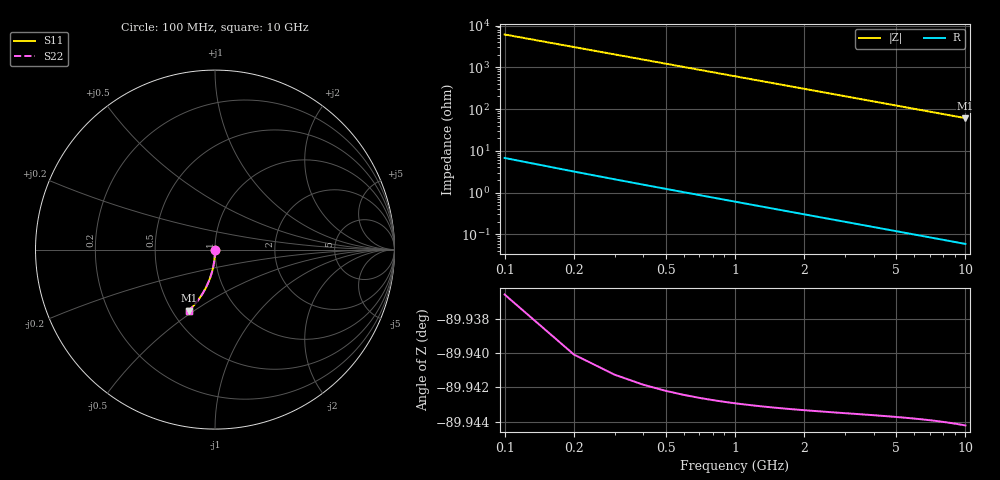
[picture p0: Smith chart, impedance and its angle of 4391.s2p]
# Hz S RI R 50.00
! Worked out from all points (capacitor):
!   100 points, 100 MHz to 10 GHz, reference 50 ohm
!   read as one part in shunt: C = 261 fF near 100 MHz
!   lowest |Z| = 60.7 ohm at 10 GHz (marker M1)
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1e8  1.54e-05 -0.00397  0.9999 -0.00423  0.9999 -0.00423  1.54e-05 -0.00397
2e8  -3.87e-05 -0.00793  0.9999 -0.00845  0.9999 -0.00845  -3.87e-05 -0.00793
3e8  -0.000126 -0.0119  0.9998 -0.0127  0.9998 -0.0127  -0.000126 -0.0119
4e8  -0.000248 -0.0159  0.9997 -0.0169  0.9997 -0.0169  -0.000248 -0.0159
5e8  -0.000402 -0.0198  0.9995 -0.0211  0.9995 -0.0211  -0.000402 -0.0198
6e8  -0.00059 -0.0238  0.9993 -0.0253  0.9993 -0.0253  -0.00059 -0.0238
7e8  -0.000812 -0.0277  0.9991 -0.0296  0.9991 -0.0296  -0.000812 -0.0277
8e8  -0.00107 -0.0317  0.9989 -0.0338  0.9989 -0.0338  -0.00107 -0.0317
9e8  -0.00136 -0.0357  0.9986 -0.038  0.9986 -0.038  -0.00136 -0.0357
1.1e9  -0.00203 -0.0436  0.9979 -0.0464  0.9979 -0.0464  -0.00203 -0.0436
1.4e9  -0.0033 -0.0554  0.9966 -0.059  0.9966 -0.059  -0.0033 -0.0554
1.8e9  -0.00545 -0.0711  0.9945 -0.0757  0.9945 -0.0757  -0.00545 -0.0711
2.1e9  -0.0074 -0.0828  0.9925 -0.0882  0.9925 -0.0882  -0.0074 -0.0828
2.5e9  -0.0105 -0.0983  0.9894 -0.1048  0.9894 -0.1048  -0.0105 -0.0983
2.9e9  -0.014 -0.1136  0.9859 -0.1211  0.9859 -0.1211  -0.014 -0.1136
3.4e9  -0.0192 -0.1325  0.9807 -0.1414  0.9807 -0.1414  -0.0192 -0.1325
4.2e9  -0.0291 -0.1622  0.9708 -0.1731  0.9708 -0.1731  -0.0291 -0.1622
5.1e9  -0.0423 -0.1944  0.9575 -0.2077  0.9575 -0.2077  -0.0423 -0.1944
5.9e9  -0.0559 -0.2218  0.9439 -0.2372  0.9439 -0.2372  -0.0559 -0.2218
6.7e9  -0.0711 -0.2479  0.9287 -0.2655  0.9287 -0.2655  -0.0711 -0.2479
8.4e9  -0.1077 -0.2987  0.8919 -0.3208  0.8919 -0.3208  -0.1077 -0.2987
1e10  -0.1465 -0.3401  0.853 -0.3666  0.853 -0.3666  -0.1465 -0.3401
